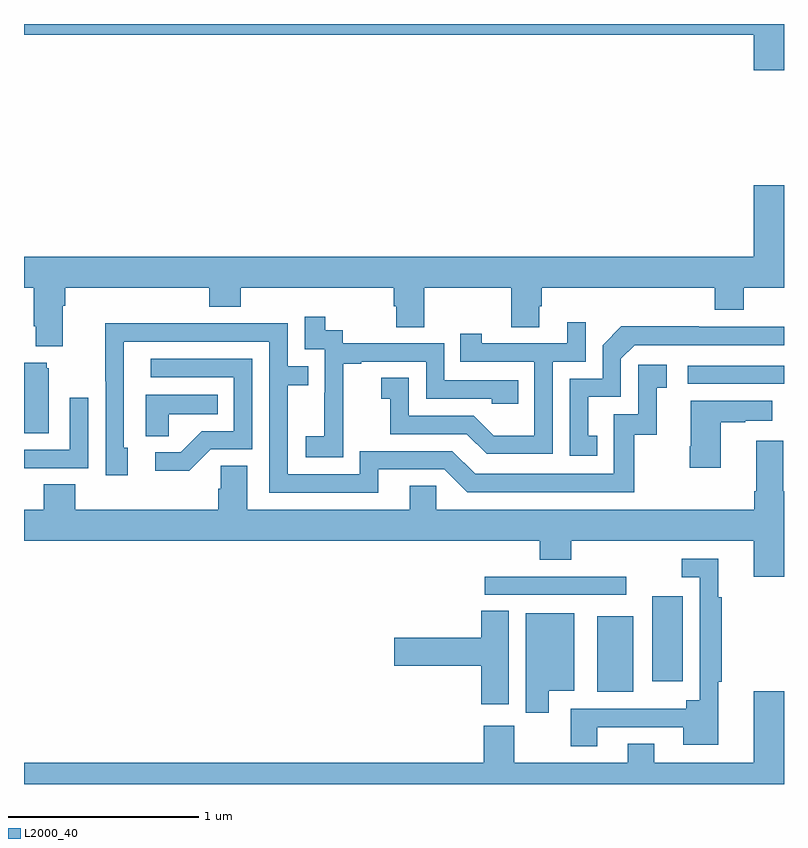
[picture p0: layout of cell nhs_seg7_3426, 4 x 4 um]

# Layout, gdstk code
import gdstk
lib = gdstk.Library(unit=1e-6, precision=1e-09)
def R(c, l, rs):  # rectangles x0, y0, x1, y1
    for r in rs: c.add(gdstk.rectangle(r[:2], r[2:], *l))
def P(c, l, *ps):  # polygons
    for p in ps: c.add(gdstk.Polygon(p, *l))
L2000_40 = (2000, 40)

nhs_seg7_3426 = lib.new_cell('nhs_seg7_3426')
R(nhs_seg7_3426, L2000_40, [(332.018,1002.485,332.206,1002.883), (332.306,1002.54,332.467,1002.988), (331.425,1002.996,332.17,1003.092), (332.493,1004.106,333,1004.202)])
P(nhs_seg7_3426, L2000_40, [(333,1006),(329,1006),(329,1005.944),(332.84,1005.944),(332.84,1005.756),(333,1005.756)],
  [(329.203,1004.516),(329.216,1004.516),(329.216,1004.612),(329.975,1004.612),(329.975,1004.513),(330.14,1004.513),(330.14,1004.612),(330.947,1004.612),(330.947,1004.514),(330.959,1004.514),(330.959,1004.404),(331.107,1004.404),(331.107,1004.612),(331.564,1004.612),(331.564,1004.404),(331.711,1004.404),(331.711,1004.514),(331.724,1004.514),(331.724,1004.612),(332.636,1004.612),(332.636,1004.495),(332.788,1004.495),(332.788,1004.612),(333,1004.612),(333,1005.151),(332.84,1005.151),(332.84,1004.776),(329,1004.776),(329,1004.612),(329.051,1004.612),(329.051,1004.41),(329.063,1004.41),(329.063,1004.303),(329.203,1004.303)],
  [(330.681,1003.927),(330.68,1003.927),(330.68,1004.211),(330.775,1004.211),(330.775,1004.223),(331.116,1004.223),(331.116,1004.028),(331.461,1004.028),(331.461,1004.001),(331.601,1004.001),(331.601,1004.124),(331.212,1004.124),(331.212,1004.319),(330.678,1004.319),(330.678,1004.388),(330.586,1004.388),(330.586,1004.458),(330.477,1004.458),(330.477,1004.289),(330.582,1004.289),(330.582,1004.06),(330.581,1004.06),(330.581,1003.831),(330.483,1003.831),(330.483,1003.721),(330.681,1003.721)],
  [(331.782,1004.223),(331.956,1004.223),(331.956,1004.431),(331.859,1004.431),(331.859,1004.319),(331.408,1004.319),(331.408,1004.371),(331.297,1004.371),(331.297,1004.223),(331.686,1004.223),(331.686,1003.834),(331.472,1003.834),(331.368,1003.938),(331.026,1003.938),(331.026,1004.137),(330.879,1004.137),(330.879,1004.027),(330.928,1004.027),(330.928,1003.842),(331.331,1003.842),(331.436,1003.737),(331.782,1003.737)],
  [(330.865,1003.656),(331.212,1003.656),(331.332,1003.536),(332.212,1003.536),(332.212,1003.839),(332.33,1003.839),(332.33,1004.085),(332.383,1004.085),(332.383,1004.206),(332.232,1004.206),(332.232,1003.947),(332.103,1003.947),(332.103,1003.632),(331.374,1003.632),(331.254,1003.752),(330.768,1003.752),(330.768,1003.629),(330.387,1003.629),(330.387,1004.098),(330.497,1004.098),(330.497,1004.199),(330.387,1004.199),(330.387,1004.424),(329.891,1004.424),(329.891,1004.426),(329.428,1004.426),(329.428,1004.119),(329.43,1004.119),(329.43,1003.626),(329.545,1003.626),(329.545,1003.77),(329.526,1003.77),(329.526,1004.328),(330.291,1004.328),(330.291,1003.533),(330.865,1003.533)],
  [(332.018,1003.833),(331.969,1003.833),(331.969,1004.037),(332.142,1004.037),(332.142,1004.238),(332.214,1004.31),(333,1004.31),(333,1004.406),(332.552,1004.406),(332.552,1004.408),(332.144,1004.408),(332.046,1004.31),(332.046,1004.133),(331.872,1004.133),(331.872,1003.728),(332.018,1003.728)],
  [(329.982,1003.761),(330.201,1003.761),(330.201,1004.238),(329.667,1004.238),(329.667,1004.142),(330.105,1004.142),(330.105,1003.857),(329.936,1003.857),(329.825,1003.746),(329.691,1003.746),(329.691,1003.649),(329.869,1003.649)],
  [(329.131,1004.187),(329.12,1004.187),(329.12,1004.218),(329,1004.218),(329,1003.847),(329.131,1003.847)],
  [(329.763,1003.946),(330.02,1003.946),(330.02,1004.05),(329.642,1004.05),(329.642,1003.831),(329.763,1003.831)],
  [(329.021,1003.662),(329.337,1003.662),(329.337,1004.032),(329.241,1004.032),(329.241,1003.758),(329,1003.758),(329,1003.661),(329.021,1003.661)],
  [(332.668,1003.903),(332.795,1003.903),(332.795,1003.913),(332.938,1003.913),(332.938,1004.017),(332.51,1004.017),(332.51,1003.777),(332.503,1003.777),(332.503,1003.665),(332.668,1003.665)],
  [(333,1003.54),(332.995,1003.54),(332.995,1003.807),(332.855,1003.807),(332.855,1003.54),(332.843,1003.54),(332.843,1003.444),(331.17,1003.444),(331.17,1003.571),(331.031,1003.571),(331.031,1003.444),(330.175,1003.444),(330.175,1003.676),(330.036,1003.676),(330.036,1003.553),(330.023,1003.553),(330.023,1003.444),(329.27,1003.444),(329.27,1003.577),(329.105,1003.577),(329.105,1003.444),(329,1003.444),(329,1003.28),(331.715,1003.28),(331.715,1003.181),(331.88,1003.181),(331.88,1003.28),(332.84,1003.28),(332.84,1003.092),(333,1003.092)],
  [(332.017,1002.3),(332.471,1002.3),(332.471,1002.206),(332.654,1002.206),(332.654,1002.538),(332.672,1002.538),(332.672,1002.982),(332.654,1002.982),(332.654,1003.185),(332.463,1003.185),(332.463,1003.089),(332.556,1003.089),(332.556,1002.442),(332.486,1002.442),(332.486,1002.396),(331.877,1002.396),(331.877,1002.198),(332.017,1002.198)],
  [(331.552,1002.911),(331.406,1002.911),(331.406,1002.77),(330.948,1002.77),(330.948,1002.623),(331.406,1002.623),(331.406,1002.42),(331.552,1002.42)],
  [(331.762,1002.491),(331.897,1002.491),(331.897,1002.898),(331.64,1002.898),(331.64,1002.375),(331.762,1002.375)],
  [(333,1002.487),(332.84,1002.487),(332.84,1002.112),(332.317,1002.112),(332.317,1002.211),(332.177,1002.211),(332.177,1002.112),(331.581,1002.112),(331.581,1002.307),(331.421,1002.307),(331.421,1002.112),(329,1002.112),(329,1002),(333,1002)])

lib.write_gds('nhs_seg7_3426.gds')
